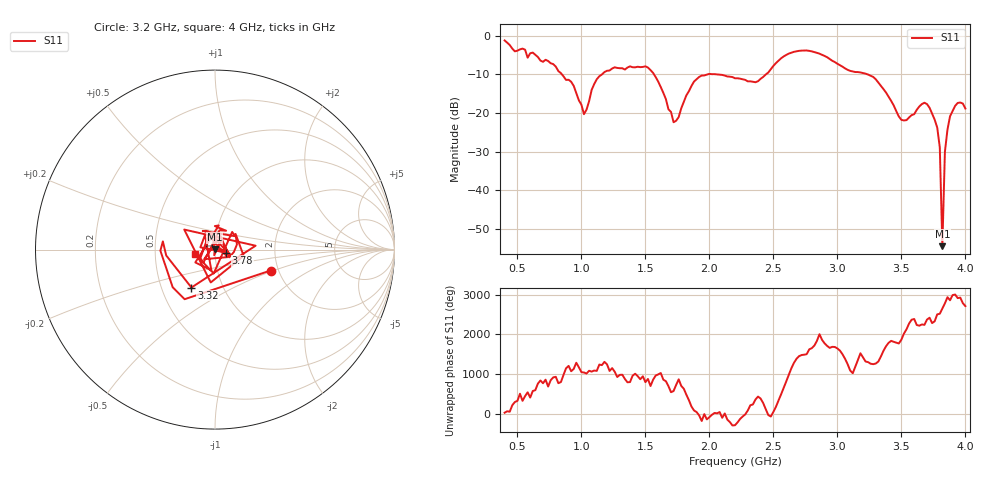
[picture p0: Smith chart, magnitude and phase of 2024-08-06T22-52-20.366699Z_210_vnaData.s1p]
!Created with skrf (http://scikit-rf.org).
# Hz S RI R 50.0
!freq ReS11 ImS11
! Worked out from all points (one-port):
!   181 points, 400 MHz to 4 GHz, reference 50 ohm
!   lowest |S11| = -54.4 dB at 3.82 GHz (marker M1), VSWR 1.00, Z = 49.9 + j0.142 ohm
!   |S11| at or under -10 dB: 1.568 GHz to 1.985 GHz (417.2 MHz wide, 23.5 % of centre); 2.068 GHz to 2.44 GHz (372.3 MHz wide, 16.5 % of centre); 3.238 GHz to end of sweep (the widest 3 of 4)
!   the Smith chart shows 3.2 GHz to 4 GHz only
!   S11 on the Smith chart (normalised r, x): 3.2 GHz: 1.82, -0.48; 3.32 GHz: 0.71, -0.32; 3.78 GHz: 1.13, -0.04; 4 GHz: 0.80, -0.04
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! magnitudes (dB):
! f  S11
! 400 MHz  -1.2
! 860 MHz  -10.5
! 940 MHz  -12.9
! 1.02 GHz  -20.3
! 1.12 GHz  -11.2
! 1.3 GHz  -8.4
! 1.52 GHz  -8.2
! 1.6 GHz  -11.8
! 1.72 GHz  -22.4
! 1.76 GHz  -21.0
! 1.92 GHz  -10.6
! 2.2 GHz  -11.0
! 2.38 GHz  -11.7
! 2.66 GHz  -4.1
! 2.86 GHz  -4.6
! 3.1 GHz  -9.1
! 3.2 GHz  -9.6
! 3.32 GHz  -12.1
! 3.5 GHz  -21.7
! 3.56 GHz  -21.1
! 3.68 GHz  -17.3
! 3.78 GHz  -23.7
! 3.8 GHz  -28.9
! 3.82 GHz  -54.4
! 3.84 GHz  -30.0
! 3.86 GHz  -24.3
! 3.92 GHz  -18.1
! 4 GHz  -18.8
